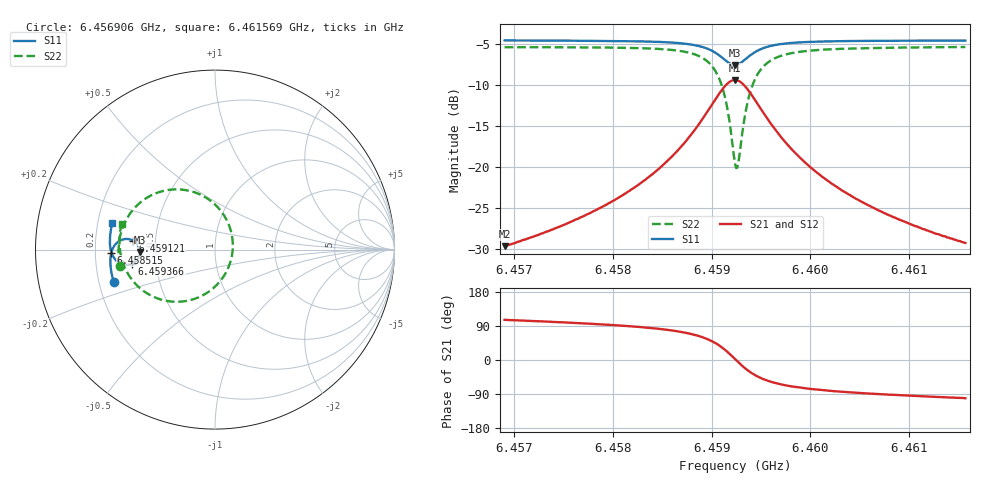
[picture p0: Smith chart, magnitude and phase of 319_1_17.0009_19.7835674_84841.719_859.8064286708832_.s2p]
#  HZ  S  RI  R  50.00
! Rohde & Schwarz Vector Network Analyzer
! Rohde-Schwarz,ZNB20-2Port,1311601062101988,3.16
! Created: UTC 3/20/2024, 11:06:20 PM
! freq[Hz]  re:S11  im:S11  re:S21  im:S21  re:S12  im:S12  re:S22  im:S22
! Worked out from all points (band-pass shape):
!   401 points, 6.456906 GHz to 6.461569 GHz, reference 50 ohm
!   highest |S21| = -9.36 dB at 6.459237 GHz (marker M1); lowest = -29.6 dB at 6.456906 GHz (marker M2)
!   |S21| within 3 dB of the highest: 6.459004 GHz to 6.45947 GHz (466.5 kHz wide, 0.00722 % of centre)
!   lowest |S11| = -7.5 dB at 6.459237 GHz (marker M3), VSWR 2.45, Z = 20.4 - j0.635 ohm
!   |S11| at or under -10 dB: nowhere
!   |S22| runs from -20.1 to -5.3 dB; largest |S21 - S12| = 0.013
!   S11 on the Smith chart (normalised r, x): 6.456906 GHz: 0.26, -0.14; 6.458515 GHz: 0.27, -0.02; 6.459121 GHz: 0.37, +0.05; 6.459366 GHz: 0.37, -0.07; 6.461569 GHz: 0.26, +0.12
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6.4569057e9  -0.5649 -0.1779  -0.00914 0.0318  -0.00739 0.0318  -0.5311 -0.0899
6.4576868e9  -0.5797 -0.11  -0.00589 0.0496  -0.00344 0.049  -0.5374 -7.59e-05
6.4581065e9  -0.5831 -0.0682  -0.000337 0.068  0.00279 0.0667  -0.5304 0.0651
6.4584679e9  -0.5797 -0.0254  0.0133 0.0972  0.0171 0.0946  -0.5055 0.1443
6.4585146e9  -0.5783 -0.0191  0.0167 0.1027  0.0206 0.0998  -0.4993 0.1573
6.4587244e9  -0.5664 0.0128  0.0422 0.134  0.0464 0.1294  -0.4515 0.2283
6.458876e9  -0.5455 0.0393  0.084 0.1641  0.0875 0.1577  -0.3745 0.2919
6.4590275e9  -0.4998 0.0591  0.1748 0.1832  0.1759 0.176  -0.2095 0.3356
6.4591208e9  -0.4556 0.0493  0.2635 0.1528  0.2638 0.147  -0.046 0.2869
6.4591674e9  -0.4346 0.0308  0.3067 0.1108  0.308 0.1055  0.0354 0.2123
6.4592374e9  -0.4198 -0.0128  0.3399 0.0154  0.3433 0.00849  0.0992 0.0361
6.459249e9  -0.4202 -0.0206  0.3399 -0.00197  0.3433 -0.00973  0.0988 0.00325
6.4592723e9  -0.4235 -0.036  0.3343 -0.0362  0.338 -0.0453  0.0881 -0.0612
6.4593306e9  -0.4439 -0.0669  0.2971 -0.1074  0.2982 -0.1195  0.0127 -0.194
6.4593656e9  -0.4607 -0.0781  0.2652 -0.1359  0.2642 -0.1489  -0.0511 -0.2452
6.4594589e9  -0.5035 -0.0848  0.1821 -0.1669  0.1759 -0.1781  -0.2163 -0.2905
6.4596104e9  -0.5469 -0.0645  0.0955 -0.1537  0.0871 -0.1598  -0.3804 -0.2426
6.4597736e9  -0.5683 -0.0369  0.0511 -0.1265  0.0436 -0.1291  -0.4594 -0.1719
6.4600185e9  -0.5811 -0.00133  0.0222 -0.0955  0.0166 -0.0961  -0.5066 -0.0908
6.4603449e9  -0.5857 0.0373  0.00708 -0.0705  0.00307 -0.0701  -0.5273 -0.0168
6.4607996e9  -0.5838 0.083  -0.00154 -0.0509  -0.00407 -0.0502  -0.5318 0.0552
6.461569e9  -0.5716 0.1509  -0.00652 -0.034  -0.00813 -0.0331  -0.5204 0.1449
